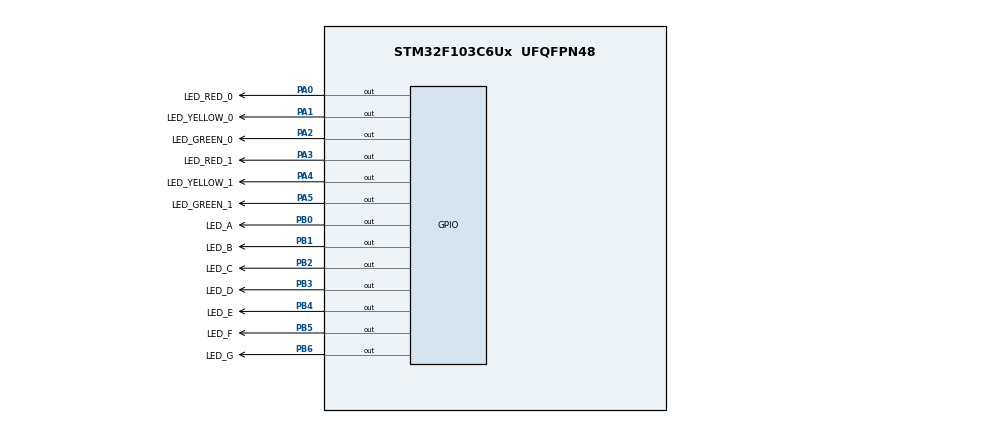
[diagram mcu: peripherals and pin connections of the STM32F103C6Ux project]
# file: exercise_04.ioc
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Mcu.Family=STM32F1
Mcu.Name=STM32F103C6Ux
Mcu.Package=UFQFPN48
NVIC.PriorityGroup=NVIC_PRIORITYGROUP_4
PA0-WKUP.GPIO_Label=LED_RED_0
PA0-WKUP.Signal=GPIO_Output
PA1.GPIO_Label=LED_YELLOW_0
PA1.Signal=GPIO_Output
PA2.GPIO_Label=LED_GREEN_0
PA2.Signal=GPIO_Output
PA3.GPIO_Label=LED_RED_1
PA3.Signal=GPIO_Output
PA4.GPIO_Label=LED_YELLOW_1
PA4.Signal=GPIO_Output
PA5.GPIO_Label=LED_GREEN_1
PA5.Signal=GPIO_Output
PB0.GPIO_Label=LED_A
PB0.Signal=GPIO_Output
PB1.GPIO_Label=LED_B
PB1.Signal=GPIO_Output
PB2.GPIO_Label=LED_C
PB2.Signal=GPIO_Output
PB3.GPIO_Label=LED_D
PB3.Signal=GPIO_Output
PB4.GPIO_Label=LED_E
PB4.Signal=GPIO_Output
PB5.GPIO_Label=LED_F
PB5.Signal=GPIO_Output
PB6.GPIO_Label=LED_G
PB6.Signal=GPIO_Output
ProjectManager.HeapSize=0x200
ProjectManager.StackSize=0x400
ProjectManager.TargetToolchain=CMake
RCC.APB1Freq_Value=8000000
RCC.APB2Freq_Value=8000000
VP_SYS_VS_ND.Mode=No_Debug
board=custom

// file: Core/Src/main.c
/* USER CODE BEGIN Header */
/**
 ******************************************************************************
 * @file           : main.c
 * @brief          : Main program body
 ******************************************************************************
 * @attention
 *
 * Copyright (c) 2025 STMicroelectronics.
 * All rights reserved.
 *
 * This software is licensed under terms that can be found in the LICENSE file
 * in the root directory of this software component.
 * If no LICENSE file comes with this software, it is provided AS-IS.
 *
 ******************************************************************************
 */
/* USER CODE END Header */
#include "main.h"

void SystemClock_Config(void);
static void MX_GPIO_Init(void);

/* USER CODE BEGIN 0 */
void display7SEG(int num)
{
    switch (num)
    {
    case 0: // A B C D E F ON, G OFF
        HAL_GPIO_WritePin(LED_A_GPIO_Port, LED_A_Pin, GPIO_PIN_RESET);
        HAL_GPIO_WritePin(LED_B_GPIO_Port, LED_B_Pin, GPIO_PIN_RESET);
        HAL_GPIO_WritePin(LED_C_GPIO_Port, LED_C_Pin, GPIO_PIN_RESET);
        HAL_GPIO_WritePin(LED_D_GPIO_Port, LED_D_Pin, GPIO_PIN_RESET);
        HAL_GPIO_WritePin(LED_E_GPIO_Port, LED_E_Pin, GPIO_PIN_RESET);
        HAL_GPIO_WritePin(LED_F_GPIO_Port, LED_F_Pin, GPIO_PIN_RESET);
        HAL_GPIO_WritePin(LED_G_GPIO_Port, LED_G_Pin, GPIO_PIN_SET);
        break;
    case 1: // B C ON
        HAL_GPIO_WritePin(LED_A_GPIO_Port, LED_A_Pin, GPIO_PIN_SET);
        HAL_GPIO_WritePin(LED_B_GPIO_Port, LED_B_Pin, GPIO_PIN_RESET);
        HAL_GPIO_WritePin(LED_C_GPIO_Port, LED_C_Pin, GPIO_PIN_RESET);
        HAL_GPIO_WritePin(LED_D_GPIO_Port, LED_D_Pin, GPIO_PIN_SET);
        HAL_GPIO_WritePin(LED_E_GPIO_Port, LED_E_Pin, GPIO_PIN_SET);
        HAL_GPIO_WritePin(LED_F_GPIO_Port, LED_F_Pin, GPIO_PIN_SET);
        HAL_GPIO_WritePin(LED_G_GPIO_Port, LED_G_Pin, GPIO_PIN_SET);
        break;
    case 2: // A B D E G ON
        HAL_GPIO_WritePin(LED_A_GPIO_Port, LED_A_Pin, GPIO_PIN_RESET);
        HAL_GPIO_WritePin(LED_B_GPIO_Port, LED_B_Pin, GPIO_PIN_RESET);
        HAL_GPIO_WritePin(LED_C_GPIO_Port, LED_C_Pin, GPIO_PIN_SET);
        HAL_GPIO_WritePin(LED_D_GPIO_Port, LED_D_Pin, GPIO_PIN_RESET);
        HAL_GPIO_WritePin(LED_E_GPIO_Port, LED_E_Pin, GPIO_PIN_RESET);
        HAL_GPIO_WritePin(LED_F_GPIO_Port, LED_F_Pin, GPIO_PIN_SET);
        HAL_GPIO_WritePin(LED_G_GPIO_Port, LED_G_Pin, GPIO_PIN_RESET);
        break;
    case 3: // A B C D G ON
        HAL_GPIO_WritePin(LED_A_GPIO_Port, LED_A_Pin, GPIO_PIN_RESET);
        HAL_GPIO_WritePin(LED_B_GPIO_Port, LED_B_Pin, GPIO_PIN_RESET);
        HAL_GPIO_WritePin(LED_C_GPIO_Port, LED_C_Pin, GPIO_PIN_RESET);
        HAL_GPIO_WritePin(LED_D_GPIO_Port, LED_D_Pin, GPIO_PIN_RESET);
        HAL_GPIO_WritePin(LED_E_GPIO_Port, LED_E_Pin, GPIO_PIN_SET);
        HAL_GPIO_WritePin(LED_F_GPIO_Port, LED_F_Pin, GPIO_PIN_SET);
        HAL_GPIO_WritePin(LED_G_GPIO_Port, LED_G_Pin, GPIO_PIN_RESET);
        break;
    case 4: // B C F G ON
        HAL_GPIO_WritePin(LED_A_GPIO_Port, LED_A_Pin, GPIO_PIN_SET);
        HAL_GPIO_WritePin(LED_B_GPIO_Port, LED_B_Pin, GPIO_PIN_RESET);
        HAL_GPIO_WritePin(LED_C_GPIO_Port, LED_C_Pin, GPIO_PIN_RESET);
        HAL_GPIO_WritePin(LED_D_GPIO_Port, LED_D_Pin, GPIO_PIN_SET);
        HAL_GPIO_WritePin(LED_E_GPIO_Port, LED_E_Pin, GPIO_PIN_SET);
        HAL_GPIO_WritePin(LED_F_GPIO_Port, LED_F_Pin, GPIO_PIN_RESET);
        HAL_GPIO_WritePin(LED_G_GPIO_Port, LED_G_Pin, GPIO_PIN_RESET);
        break;
    case 5: // A C D F G ON
        HAL_GPIO_WritePin(LED_A_GPIO_Port, LED_A_Pin, GPIO_PIN_RESET);
        HAL_GPIO_WritePin(LED_B_GPIO_Port, LED_B_Pin, GPIO_PIN_SET);
        HAL_GPIO_WritePin(LED_C_GPIO_Port, LED_C_Pin, GPIO_PIN_RESET);
        HAL_GPIO_WritePin(LED_D_GPIO_Port, LED_D_Pin, GPIO_PIN_RESET);
        HAL_GPIO_WritePin(LED_E_GPIO_Port, LED_E_Pin, GPIO_PIN_SET);
        HAL_GPIO_WritePin(LED_F_GPIO_Port, LED_F_Pin, GPIO_PIN_RESET);
        HAL_GPIO_WritePin(LED_G_GPIO_Port, LED_G_Pin, GPIO_PIN_RESET);
        break;
    case 6: // A C D E F G ON
        HAL_GPIO_WritePin(LED_A_GPIO_Port, LED_A_Pin, GPIO_PIN_RESET);
        HAL_GPIO_WritePin(LED_B_GPIO_Port, LED_B_Pin, GPIO_PIN_SET);
        HAL_GPIO_WritePin(LED_C_GPIO_Port, LED_C_Pin, GPIO_PIN_RESET);
        HAL_GPIO_WritePin(LED_D_GPIO_Port, LED_D_Pin, GPIO_PIN_RESET);
        HAL_GPIO_WritePin(LED_E_GPIO_Port, LED_E_Pin, GPIO_PIN_RESET);
        HAL_GPIO_WritePin(LED_F_GPIO_Port, LED_F_Pin, GPIO_PIN_RESET);
        HAL_GPIO_WritePin(LED_G_GPIO_Port, LED_G_Pin, GPIO_PIN_RESET);
        break;
    case 7: // A B C ON
        HAL_GPIO_WritePin(LED_A_GPIO_Port, LED_A_Pin, GPIO_PIN_RESET);
        HAL_GPIO_WritePin(LED_B_GPIO_Port, LED_B_Pin, GPIO_PIN_RESET);
        HAL_GPIO_WritePin(LED_C_GPIO_Port, LED_C_Pin, GPIO_PIN_RESET);
        HAL_GPIO_WritePin(LED_D_GPIO_Port, LED_D_Pin, GPIO_PIN_SET);
        HAL_GPIO_WritePin(LED_E_GPIO_Port, LED_E_Pin, GPIO_PIN_SET);
        HAL_GPIO_WritePin(LED_F_GPIO_Port, LED_F_Pin, GPIO_PIN_SET);
        HAL_GPIO_WritePin(LED_G_GPIO_Port, LED_G_Pin, GPIO_PIN_SET);
        break;
    case 8: // A B C D E F G ON
        HAL_GPIO_WritePin(LED_A_GPIO_Port, LED_A_Pin, GPIO_PIN_RESET);
        HAL_GPIO_WritePin(LED_B_GPIO_Port, LED_B_Pin, GPIO_PIN_RESET);
        HAL_GPIO_WritePin(LED_C_GPIO_Port, LED_C_Pin, GPIO_PIN_RESET);
        HAL_GPIO_WritePin(LED_D_GPIO_Port, LED_D_Pin, GPIO_PIN_RESET);
        HAL_GPIO_WritePin(LED_E_GPIO_Port, LED_E_Pin, GPIO_PIN_RESET);
        HAL_GPIO_WritePin(LED_F_GPIO_Port, LED_F_Pin, GPIO_PIN_RESET);
        HAL_GPIO_WritePin(LED_G_GPIO_Port, LED_G_Pin, GPIO_PIN_RESET);
        break;
    case 9: // A B C D F G ON
        HAL_GPIO_WritePin(LED_A_GPIO_Port, LED_A_Pin, GPIO_PIN_RESET);
        HAL_GPIO_WritePin(LED_B_GPIO_Port, LED_B_Pin, GPIO_PIN_RESET);
        HAL_GPIO_WritePin(LED_C_GPIO_Port, LED_C_Pin, GPIO_PIN_RESET);
        HAL_GPIO_WritePin(LED_D_GPIO_Port, LED_D_Pin, GPIO_PIN_RESET);
        HAL_GPIO_WritePin(LED_E_GPIO_Port, LED_E_Pin, GPIO_PIN_SET);
        HAL_GPIO_WritePin(LED_F_GPIO_Port, LED_F_Pin, GPIO_PIN_RESET);
        HAL_GPIO_WritePin(LED_G_GPIO_Port, LED_G_Pin, GPIO_PIN_RESET);
        break;
    default: // All OFF
        HAL_GPIO_WritePin(LED_A_GPIO_Port, LED_A_Pin, GPIO_PIN_SET);
        HAL_GPIO_WritePin(LED_B_GPIO_Port, LED_B_Pin, GPIO_PIN_SET);
        HAL_GPIO_WritePin(LED_C_GPIO_Port, LED_C_Pin, GPIO_PIN_SET);
        HAL_GPIO_WritePin(LED_D_GPIO_Port, LED_D_Pin, GPIO_PIN_SET);
        HAL_GPIO_WritePin(LED_E_GPIO_Port, LED_E_Pin, GPIO_PIN_SET);
        HAL_GPIO_WritePin(LED_F_GPIO_Port, LED_F_Pin, GPIO_PIN_SET);
        HAL_GPIO_WritePin(LED_G_GPIO_Port, LED_G_Pin, GPIO_PIN_SET);
        break;
    }
}

void countDown(int seconds)
{
    for (int i = seconds; i >= 0; i--)
    {
        display7SEG(i);
        HAL_Delay(1000);
    }
}

/* USER CODE END 0 */

int main(void)
{

  /* MCU Configuration--------------------------------------------------------*/

  /* Reset of all peripherals, Initializes the Flash interface and the Systick. */
  HAL_Init();

  /* Configure the system clock */
  SystemClock_Config();

  /* Initialize all configured peripherals */
  MX_GPIO_Init();

  /* Infinite loop */
  /* USER CODE BEGIN WHILE */
    int counter = 0;
    while (1)
    {
        /* USER CODE END WHILE */
        // Phase A
        // Pair 1 stay red
        HAL_GPIO_WritePin(GPIOA, LED_RED_1_Pin, GPIO_PIN_RESET);
        HAL_GPIO_WritePin(GPIOA, LED_YELLOW_1_Pin, GPIO_PIN_SET);
        HAL_GPIO_WritePin(GPIOA, LED_GREEN_1_Pin, GPIO_PIN_SET);

        // Green phase
        HAL_GPIO_WritePin(GPIOA, LED_GREEN_0_Pin, GPIO_PIN_RESET);
        HAL_GPIO_WritePin(GPIOA, LED_YELLOW_0_Pin, GPIO_PIN_SET);
        HAL_GPIO_WritePin(GPIOA, LED_RED_0_Pin, GPIO_PIN_SET);
        countDown(3);

        // Yellow phase
        HAL_GPIO_WritePin(GPIOA, LED_YELLOW_0_Pin, GPIO_PIN_RESET);
        HAL_GPIO_WritePin(GPIOA, LED_RED_0_Pin, GPIO_PIN_SET);
        HAL_GPIO_WritePin(GPIOA, LED_GREEN_0_Pin, GPIO_PIN_SET);
        countDown(2);

        // Red phase
        HAL_GPIO_WritePin(GPIOA, LED_RED_0_Pin, GPIO_PIN_RESET);
        HAL_GPIO_WritePin(GPIOA, LED_YELLOW_0_Pin, GPIO_PIN_SET);
        HAL_GPIO_WritePin(GPIOA, LED_GREEN_0_Pin, GPIO_PIN_SET);

        // Second phase
        // Pair 0 stay red
        HAL_GPIO_WritePin(GPIOA, LED_RED_0_Pin, GPIO_PIN_RESET);
        HAL_GPIO_WritePin(GPIOA, LED_YELLOW_0_Pin, GPIO_PIN_SET);
        HAL_GPIO_WritePin(GPIOA, LED_GREEN_0_Pin, GPIO_PIN_SET);

        // Green phase
        HAL_GPIO_WritePin(GPIOA, LED_GREEN_1_Pin, GPIO_PIN_RESET);
        HAL_GPIO_WritePin(GPIOA, LED_YELLOW_1_Pin, GPIO_PIN_SET);
        HAL_GPIO_WritePin(GPIOA, LED_RED_1_Pin, GPIO_PIN_SET);
        countDown(3);

        // Yellow phase
        HAL_GPIO_WritePin(GPIOA, LED_YELLOW_1_Pin, GPIO_PIN_RESET);
        HAL_GPIO_WritePin(GPIOA, LED_RED_1_Pin, GPIO_PIN_SET);
        HAL_GPIO_WritePin(GPIOA, LED_GREEN_1_Pin, GPIO_PIN_SET);
        countDown(2);

        // Red phase
        HAL_GPIO_WritePin(GPIOA, LED_RED_1_Pin, GPIO_PIN_RESET);
        HAL_GPIO_WritePin(GPIOA, LED_YELLOW_1_Pin, GPIO_PIN_SET);
        HAL_GPIO_WritePin(GPIOA, LED_GREEN_1_Pin, GPIO_PIN_SET);
    }
}

void SystemClock_Config(void)
{
  RCC_OscInitTypeDef RCC_OscInitStruct = {0};
  RCC_ClkInitTypeDef RCC_ClkInitStruct = {0};

  /** Initializes the RCC Oscillators according to the specified parameters
  * in the RCC_OscInitTypeDef structure.
  */
  RCC_OscInitStruct.OscillatorType = RCC_OSCILLATORTYPE_HSI;
  RCC_OscInitStruct.HSIState = RCC_HSI_ON;
  RCC_OscInitStruct.HSICalibrationValue = RCC_HSICALIBRATION_DEFAULT;
  RCC_OscInitStruct.PLL.PLLState = RCC_PLL_NONE;
  if (HAL_RCC_OscConfig(&RCC_OscInitStruct) != HAL_OK)
  {
    Error_Handler();
  }

  /** Initializes the CPU, AHB and APB buses clocks
  */
  RCC_ClkInitStruct.ClockType = RCC_CLOCKTYPE_HCLK|RCC_CLOCKTYPE_SYSCLK
                              |RCC_CLOCKTYPE_PCLK1|RCC_CLOCKTYPE_PCLK2;
  RCC_ClkInitStruct.SYSCLKSource = RCC_SYSCLKSOURCE_HSI;
  RCC_ClkInitStruct.AHBCLKDivider = RCC_SYSCLK_DIV1;
  RCC_ClkInitStruct.APB1CLKDivider = RCC_HCLK_DIV1;
  RCC_ClkInitStruct.APB2CLKDivider = RCC_HCLK_DIV1;

  if (HAL_RCC_ClockConfig(&RCC_ClkInitStruct, FLASH_LATENCY_0) != HAL_OK)
  {
    Error_Handler();
  }
}

static void MX_GPIO_Init(void)
{
  GPIO_InitTypeDef GPIO_InitStruct = {0};

  /* GPIO Ports Clock Enable */
  __HAL_RCC_GPIOA_CLK_ENABLE();
  __HAL_RCC_GPIOB_CLK_ENABLE();

  /*Configure GPIO pin Output Level */
  HAL_GPIO_WritePin(GPIOA, LED_RED_0_Pin|LED_YELLOW_0_Pin|LED_GREEN_0_Pin|LED_RED_1_Pin
                          |LED_YELLOW_1_Pin|LED_GREEN_1_Pin, GPIO_PIN_RESET);

  /*Configure GPIO pin Output Level */
  HAL_GPIO_WritePin(GPIOB, LED_A_Pin|LED_B_Pin|LED_C_Pin|LED_D_Pin
                          |LED_E_Pin|LED_F_Pin|LED_G_Pin, GPIO_PIN_RESET);

  /*Configure GPIO pins : LED_RED_0_Pin LED_YELLOW_0_Pin LED_GREEN_0_Pin LED_RED_1_Pin
                           LED_YELLOW_1_Pin LED_GREEN_1_Pin */
  GPIO_InitStruct.Pin = LED_RED_0_Pin|LED_YELLOW_0_Pin|LED_GREEN_0_Pin|LED_RED_1_Pin
                          |LED_YELLOW_1_Pin|LED_GREEN_1_Pin;
  GPIO_InitStruct.Mode = GPIO_MODE_OUTPUT_PP;
  GPIO_InitStruct.Pull = GPIO_NOPULL;
  GPIO_InitStruct.Speed = GPIO_SPEED_FREQ_LOW;
  HAL_GPIO_Init(GPIOA, &GPIO_InitStruct);

  /*Configure GPIO pins : LED_A_Pin LED_B_Pin LED_C_Pin LED_D_Pin
                           LED_E_Pin LED_F_Pin LED_G_Pin */
  GPIO_InitStruct.Pin = LED_A_Pin|LED_B_Pin|LED_C_Pin|LED_D_Pin
                          |LED_E_Pin|LED_F_Pin|LED_G_Pin;
  GPIO_InitStruct.Mode = GPIO_MODE_OUTPUT_PP;
  GPIO_InitStruct.Pull = GPIO_NOPULL;
  GPIO_InitStruct.Speed = GPIO_SPEED_FREQ_LOW;
  HAL_GPIO_Init(GPIOB, &GPIO_InitStruct);

}

void Error_Handler(void)
{
    __disable_irq();
    while (1)
    {
    }
}
